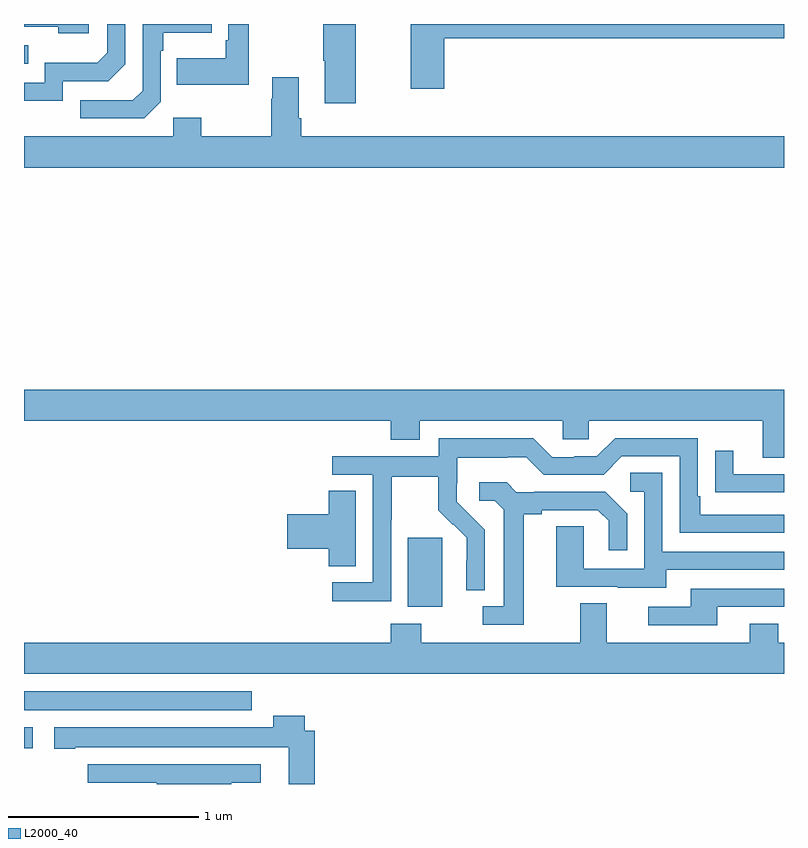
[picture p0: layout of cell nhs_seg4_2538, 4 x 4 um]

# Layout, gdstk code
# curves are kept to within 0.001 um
import gdstk
lib = gdstk.Library(unit=1e-6, precision=1e-09)
def R(c, l, rs):  # rectangles x0, y0, x1, y1
    for r in rs: c.add(gdstk.rectangle(r[:2], r[2:], *l))
def P(c, l, *ps):  # polygons
    for p in ps: c.add(gdstk.Polygon(p, *l))
L2000_40 = (2000, 40)

nhs_seg4_2538 = lib.new_cell('nhs_seg4_2538')
R(nhs_seg4_2538, L2000_40, [(243,803.089,243.046,803.2), (243,803.288,244.198,803.389), (245.021,803.834,245.2,804.195), (243,806.691,243.023,806.787)])
P(nhs_seg4_2538, L2000_40, [(243.204,806.598),(243.444,806.598),(243.534,806.688),(243.534,806.9),(243.438,806.9),(243.438,806.748),(243.385,806.695),(243.108,806.695),(243.108,806.592),(243,806.592),(243,806.496),(243.204,806.496)],
  [(244.183,806.9),(244.074,806.9),(244.074,806.815),(244.062,806.815),(244.062,806.719),(243.805,806.719),(243.805,806.579),(244.183,806.579)],
  [(244.746,806.9),(244.576,806.9),(244.576,806.707),(244.583,806.707),(244.583,806.484),(244.746,806.484)],
  [(243.72,806.49),(243.72,806.759),(243.733,806.759),(243.733,806.855),(243.989,806.855),(243.989,806.9),(243.624,806.9),(243.624,806.55),(243.573,806.499),(243.297,806.499),(243.297,806.403),(243.633,806.403)],
  [(245.213,806.824),(247,806.824),(247,806.9),(245.035,806.9),(245.035,806.559),(245.213,806.559)],
  [(243.34,806.9),(243,806.9),(243,806.886),(243.179,806.886),(243.179,806.852),(243.34,806.852)],
  [(247,806.308),(244.46,806.308),(244.46,806.404),(244.447,806.404),(244.447,806.62),(244.307,806.62),(244.307,806.507),(244.3,806.507),(244.3,806.308),(243.933,806.308),(243.933,806.407),(243.786,806.407),(243.786,806.308),(243,806.308),(243,806.144),(247,806.144)],
  [(247,804.976),(243,804.976),(243,804.812),(244.931,804.812),(244.931,804.713),(245.083,804.713),(245.083,804.812),(245.835,804.812),(245.835,804.714),(245.973,804.714),(245.973,804.812),(246.887,804.812),(246.887,804.618),(247,804.618)],
  [(244.932,804.292),(244.935,804.292),(244.935,804.516),(245.179,804.516),(245.179,804.341),(245.256,804.264),(245.259,804.267),(245.33,804.197),(245.33,804.074),(245.328,804.074),(245.328,803.92),(245.424,803.92),(245.424,804.238),(245.278,804.386),(245.278,804.483),(245.28,804.483),(245.28,804.617),(245.543,804.617),(245.543,804.621),(245.643,804.621),(245.736,804.528),(246.051,804.528),(246.147,804.624),(246.45,804.624),(246.45,804.222),(247,804.222),(247,804.318),(246.559,804.318),(246.559,804.415),(246.546,804.415),(246.546,804.72),(246.111,804.72),(246.015,804.624),(245.897,804.624),(245.897,804.621),(245.781,804.621),(245.681,804.721),(245.184,804.721),(245.184,804.624),(244.623,804.624),(244.623,804.528),(244.836,804.528),(244.836,803.961),(244.623,803.961),(244.623,803.863),(244.932,803.863)],
  [(247,804.531),(246.733,804.531),(246.733,804.655),(246.637,804.655),(246.637,804.436),(246.739,804.436),(246.739,804.435),(247,804.435)],
  [(246.379,804.027),(247,804.027),(247,804.123),(246.36,804.123),(246.36,804.539),(246.192,804.539),(246.192,804.438),(246.264,804.438),(246.264,804.033),(245.946,804.033),(245.946,804.257),(245.801,804.257),(245.801,803.937),(246.125,803.937),(246.125,803.933),(246.379,803.933)],
  [(245.629,804.32),(245.725,804.32),(245.725,804.342),(246.02,804.342),(246.077,804.285),(246.077,804.129),(246.174,804.129),(246.174,804.322),(246.058,804.438),(245.686,804.438),(245.686,804.435),(245.592,804.435),(245.54,804.487),(245.397,804.487),(245.397,804.39),(245.478,804.39),(245.525,804.343),(245.525,803.835),(245.415,803.835),(245.415,803.739),(245.629,803.739)],
  [(244.747,804.443),(244.604,804.443),(244.604,804.32),(244.386,804.32),(244.386,804.137),(244.604,804.137),(244.604,804.046),(244.747,804.046)],
  [(246.649,803.832),(247,803.832),(247,803.928),(246.509,803.928),(246.509,803.832),(246.285,803.832),(246.285,803.736),(246.649,803.736)],
  [(247,803.644),(246.969,803.644),(246.969,803.743),(246.821,803.743),(246.821,803.644),(246.067,803.644),(246.067,803.852),(245.927,803.852),(245.927,803.644),(245.091,803.644),(245.091,803.743),(244.931,803.743),(244.931,803.644),(243,803.644),(243,803.48),(247,803.48)],
  [(244.529,803.179),(244.478,803.179),(244.478,803.26),(244.313,803.26),(244.313,803.2),(243.159,803.2),(243.159,803.086),(243.271,803.086),(243.271,803.093),(244.394,803.093),(244.394,802.9),(244.529,802.9)],
  [(244.09,802.906),(244.246,802.906),(244.246,803.004),(243.336,803.004),(243.336,802.906),(243.698,802.906),(243.698,802.9),(244.09,802.9)])

lib.write_gds('nhs_seg4_2538.gds')
